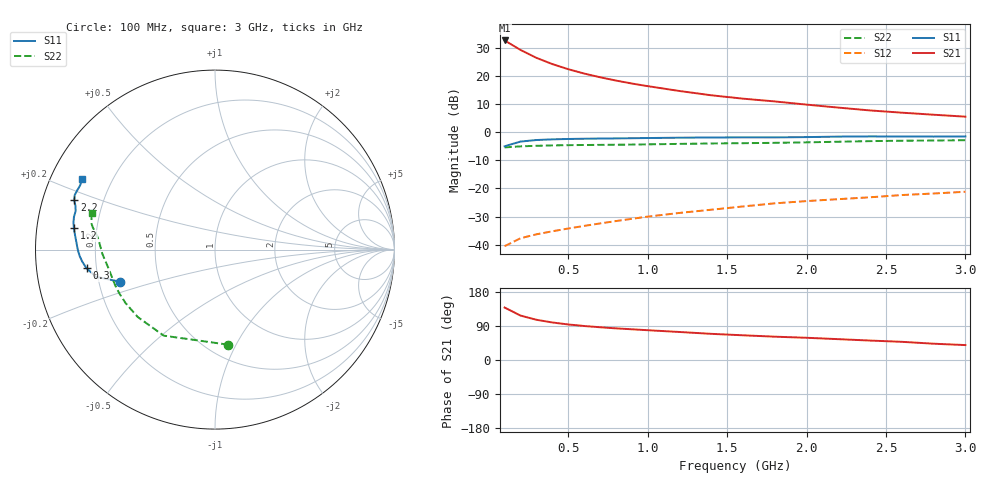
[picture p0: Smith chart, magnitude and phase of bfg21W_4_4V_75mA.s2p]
! Filename: 4_475bfg21.001
! Title: BFG21W
! Bias: Vce=4.4V; Ic=75mA
! Company: Philips Semiconductors NL
! User: Quality&Reliability T&D
! Measure time: 10 Nov 1999 / 11:46:49
#  MHz  S  MA  R 50
! Freq  S11  S21  S12  S22  :
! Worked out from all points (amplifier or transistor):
!   20 points, 100 MHz to 3 GHz, reference 50 ohm
!   highest |S21| = 32.5 dB at 100 MHz (marker M1)
!   |S21| within 3 dB of that: start of sweep to 189.2 MHz
!   unconditionally stable (mu >= 1): 704.7 MHz to end of sweep
!   at 400 MHz: K = 0.84, MSG = 29.7 dB, |S12| = -35.2 dB
!   at 1.2 GHz: K = 1.08, MAG = 20.0 dB, |S12| = -28.7 dB
!   at 3 GHz: K = 1.05, MAG = 11.9 dB, |S12| = -21.2 dB
!   S11 on the Smith chart (normalised r, x): 100 MHz: 0.29, -0.15; 300 MHz: 0.16, -0.07; 1.2 GHz: 0.11, +0.07; 2.2 GHz: 0.09, +0.17; 3 GHz: 0.09, +0.25
100  0.5603 -161.4  42.17 138.4  0.009483 44.4  0.5349 -82.1
200  0.679 -167.1  28.63 117.3  0.01311 43.7  0.5582 -120.8
300  0.7233 -171.7  20.75 106.2  0.01539 46.2  0.5714 -139.0
400  0.7431 -174.9  16.08 99.1  0.0174 49.9  0.5806 -149.2
500  0.755 -177.3  13.06 93.8  0.0195 53.2  0.5865 -155.7
600  0.7625 -179.4  10.93 89.7  0.02168 56.2  0.5904 -160.3
700  0.7681 178.8  9.398 86.4  0.02399 59.1  0.5933 -163.8
800  0.7731 177.0  8.207 83.5  0.02641 61.4  0.5964 -166.7
900  0.7786 175.5  7.275 81.1  0.02895 63.6  0.6007 -169.2
1000  0.7845 174.0  6.532 78.6  0.03168 65.0  0.6058 -171.4
1200  0.7955 171.3  5.358 73.9  0.03684 67.1  0.6178 -175.1
1400  0.8027 169.2  4.497 69.0  0.04199 68.4  0.6287 -178.0
1600  0.8067 166.9  3.919 65.2  0.04801 69.5  0.6357 179.4
1800  0.8056 164.5  3.497 61.6  0.05453 70.1  0.6449 176.7
2000  0.815 162.6  3.071 58.7  0.05975 71.1  0.658 173.9
2200  0.8316 160.6  2.719 55.0  0.06464 71.2  0.6745 171.5
2400  0.8386 158.8  2.421 51.3  0.06981 70.7  0.6915 169.8
2600  0.836 156.9  2.21 48.0  0.07649 69.9  0.7029 168.2
2800  0.8323 154.6  2.033 43.0  0.08149 68.4  0.7088 166.1
3000  0.8374 152.1  1.877 39.4  0.08742 67.6  0.7172 163.6
